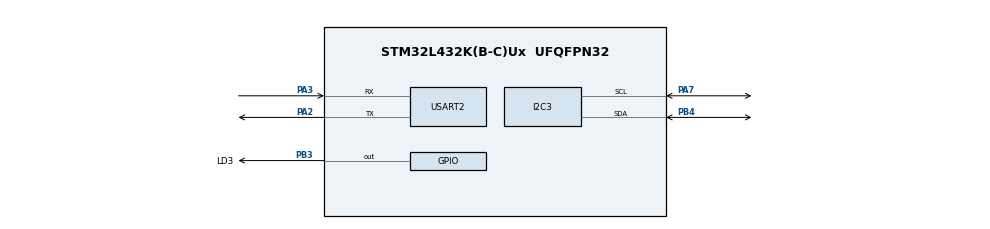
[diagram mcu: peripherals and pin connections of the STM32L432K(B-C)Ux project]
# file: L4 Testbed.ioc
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I2C3.OwnAddress=12
Mcu.Family=STM32L4
Mcu.Name=STM32L432K(B-C)Ux
Mcu.Package=UFQFPN32
NVIC.PriorityGroup=NVIC_PRIORITYGROUP_4
PA2.Mode=Asynchronous
PA2.Signal=USART2_TX
PA3.Mode=Asynchronous
PA3.Signal=USART2_RX
PA7.Mode=I2C
PA7.Signal=I2C3_SCL
PB3\ (JTDO-TRACESWO).GPIO_Label=LD3
PB3\ (JTDO-TRACESWO).Signal=GPIO_Output
PB4\ (NJTRST).Mode=I2C
PB4\ (NJTRST).Signal=I2C3_SDA
ProjectManager.HeapSize=0x200
ProjectManager.StackSize=0x400
ProjectManager.TargetToolchain=STM32CubeIDE
RCC.HSE_VALUE=8000000
RCC.HSI48_VALUE=48000000
RCC.HSI_VALUE=16000000
RCC.LSE_VALUE=32768
RCC.MSI_VALUE=4000000
RCC.VCOOutputFreq_Value=32000000
USART2.VirtualMode-Asynchronous=VM_ASYNC
board=custom

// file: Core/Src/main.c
/* USER CODE BEGIN Header */
/**
  ******************************************************************************
  * @file           : main.c
  * @brief          : Main program body
  ******************************************************************************
  * @attention
  *
  * <h2><center>&copy; Copyright (c) 2021 STMicroelectronics.
  * All rights reserved.</center></h2>
  *
  * This software component is licensed by ST under BSD 3-Clause license,
  * the "License"; You may not use this file except in compliance with the
  * License. You may obtain a copy of the License at:
  *                        opensource.org/licenses/BSD-3-Clause
  *
  ******************************************************************************
  */
/* USER CODE END Header */
#include "main.h"

/* USER CODE BEGIN Includes */
#include "Nucleo_Profiles.h"
/* USER CODE END Includes */

I2C_HandleTypeDef hi2c3;

UART_HandleTypeDef huart2;

void SystemClock_Config(void);
static void MX_GPIO_Init(void);
static void MX_USART2_UART_Init(void);
static void MX_I2C3_Init(void);

int main(void)
{

  /* MCU Configuration--------------------------------------------------------*/

  /* Reset of all peripherals, Initializes the Flash interface and the Systick. */
  HAL_Init();

  /* Configure the system clock */
  SystemClock_Config();

  /* Initialize all configured peripherals */
  MX_GPIO_Init();
  MX_USART2_UART_Init();
  MX_I2C3_Init();
  /* USER CODE BEGIN 2 */
  NucleoL4_Init();

  extern volatile LED_t LD3;

  uint8_t data;
  HAL_StatusTypeDef s;

  __HAL_I2C_ENABLE_IT(&hi2c3,I2C_IT_TCI);
//  printf("%d\r\n",hi2c3.);
//  printf("%x",hi2c3.State);
//  s = HAL_I2C_Slave_Receive(&hi2c3, &data, 1, HAL_MAX_DELAY);
//  printf("%x",hi2c3.State);
  /* USER CODE END 2 */

  /* Infinite loop */
  while (1)
  {

    /* USER CODE BEGIN 3 */
	  s = HAL_I2C_Slave_Receive_IT(&hi2c3, &data, 1);
	  HAL_Delay(1000);
	  switch(s) {
	  case HAL_OK:
		  printf("%c",(char) data);
		  LED_SetState(&LD3,!LED_GetState(&LD3));
		  break;
	  case HAL_ERROR:
		  printf("HAL_ERROR\r\n");
		  break;
	  case HAL_BUSY:
		  printf("HAL_BUSY\r\n");
		  break;
	  case HAL_TIMEOUT:
		  printf("HAL_TIMEOUT");
		  break;
	  }

//	  LED_SetState(&LD3,!LED_GetState(&LD3));

//	  for(int i = 10; i >=1; i--) {
//		  LED_Reset(&LD3);
//		  HAL_Delay(50*i);
//		  LED_Set(&LD3);
//		  HAL_Delay(50*i);
//		  printf(".");
//	  }
//	  printf("\r\n");

  }
  /* USER CODE END 3 */
}

void SystemClock_Config(void)
{
  RCC_OscInitTypeDef RCC_OscInitStruct = {0};
  RCC_ClkInitTypeDef RCC_ClkInitStruct = {0};
  RCC_PeriphCLKInitTypeDef PeriphClkInit = {0};

  /** Initializes the RCC Oscillators according to the specified parameters
  * in the RCC_OscInitTypeDef structure.
  */
  RCC_OscInitStruct.OscillatorType = RCC_OSCILLATORTYPE_MSI;
  RCC_OscInitStruct.MSIState = RCC_MSI_ON;
  RCC_OscInitStruct.MSICalibrationValue = 0;
  RCC_OscInitStruct.MSIClockRange = RCC_MSIRANGE_6;
  RCC_OscInitStruct.PLL.PLLState = RCC_PLL_NONE;
  if (HAL_RCC_OscConfig(&RCC_OscInitStruct) != HAL_OK)
  {
    Error_Handler();
  }
  /** Initializes the CPU, AHB and APB buses clocks
  */
  RCC_ClkInitStruct.ClockType = RCC_CLOCKTYPE_HCLK|RCC_CLOCKTYPE_SYSCLK
                              |RCC_CLOCKTYPE_PCLK1|RCC_CLOCKTYPE_PCLK2;
  RCC_ClkInitStruct.SYSCLKSource = RCC_SYSCLKSOURCE_MSI;
  RCC_ClkInitStruct.AHBCLKDivider = RCC_SYSCLK_DIV1;
  RCC_ClkInitStruct.APB1CLKDivider = RCC_HCLK_DIV1;
  RCC_ClkInitStruct.APB2CLKDivider = RCC_HCLK_DIV1;

  if (HAL_RCC_ClockConfig(&RCC_ClkInitStruct, FLASH_LATENCY_0) != HAL_OK)
  {
    Error_Handler();
  }
  PeriphClkInit.PeriphClockSelection = RCC_PERIPHCLK_USART2|RCC_PERIPHCLK_I2C3;
  PeriphClkInit.Usart2ClockSelection = RCC_USART2CLKSOURCE_PCLK1;
  PeriphClkInit.I2c3ClockSelection = RCC_I2C3CLKSOURCE_PCLK1;
  if (HAL_RCCEx_PeriphCLKConfig(&PeriphClkInit) != HAL_OK)
  {
    Error_Handler();
  }
  /** Configure the main internal regulator output voltage
  */
  if (HAL_PWREx_ControlVoltageScaling(PWR_REGULATOR_VOLTAGE_SCALE1) != HAL_OK)
  {
    Error_Handler();
  }
}

static void MX_I2C3_Init(void)
{

  hi2c3.Instance = I2C3;
  hi2c3.Init.Timing = 0x00000E14;
  hi2c3.Init.OwnAddress1 = 24;
  hi2c3.Init.AddressingMode = I2C_ADDRESSINGMODE_7BIT;
  hi2c3.Init.DualAddressMode = I2C_DUALADDRESS_DISABLE;
  hi2c3.Init.OwnAddress2 = 0;
  hi2c3.Init.OwnAddress2Masks = I2C_OA2_NOMASK;
  hi2c3.Init.GeneralCallMode = I2C_GENERALCALL_DISABLE;
  hi2c3.Init.NoStretchMode = I2C_NOSTRETCH_DISABLE;
  if (HAL_I2C_Init(&hi2c3) != HAL_OK)
  {
    Error_Handler();
  }
  /** Configure Analogue filter
  */
  if (HAL_I2CEx_ConfigAnalogFilter(&hi2c3, I2C_ANALOGFILTER_ENABLE) != HAL_OK)
  {
    Error_Handler();
  }
  /** Configure Digital filter
  */
  if (HAL_I2CEx_ConfigDigitalFilter(&hi2c3, 0) != HAL_OK)
  {
    Error_Handler();
  }

}

static void MX_USART2_UART_Init(void)
{

  huart2.Instance = USART2;
  huart2.Init.BaudRate = 115200;
  huart2.Init.WordLength = UART_WORDLENGTH_8B;
  huart2.Init.StopBits = UART_STOPBITS_1;
  huart2.Init.Parity = UART_PARITY_NONE;
  huart2.Init.Mode = UART_MODE_TX_RX;
  huart2.Init.HwFlowCtl = UART_HWCONTROL_NONE;
  huart2.Init.OverSampling = UART_OVERSAMPLING_16;
  huart2.Init.OneBitSampling = UART_ONE_BIT_SAMPLE_DISABLE;
  huart2.AdvancedInit.AdvFeatureInit = UART_ADVFEATURE_NO_INIT;
  if (HAL_UART_Init(&huart2) != HAL_OK)
  {
    Error_Handler();
  }

}

static void MX_GPIO_Init(void)
{
  GPIO_InitTypeDef GPIO_InitStruct = {0};

  /* GPIO Ports Clock Enable */
  __HAL_RCC_GPIOA_CLK_ENABLE();
  __HAL_RCC_GPIOB_CLK_ENABLE();

  /*Configure GPIO pin Output Level */
  HAL_GPIO_WritePin(LD3_GPIO_Port, LD3_Pin, GPIO_PIN_RESET);

  /*Configure GPIO pin : LD3_Pin */
  GPIO_InitStruct.Pin = LD3_Pin;
  GPIO_InitStruct.Mode = GPIO_MODE_OUTPUT_PP;
  GPIO_InitStruct.Pull = GPIO_NOPULL;
  GPIO_InitStruct.Speed = GPIO_SPEED_FREQ_LOW;
  HAL_GPIO_Init(LD3_GPIO_Port, &GPIO_InitStruct);

}

void Error_Handler(void)
{
  __disable_irq();
  while (1)
  {
  }
}

/************************ (C) COPYRIGHT STMicroelectronics *****END OF FILE****/
